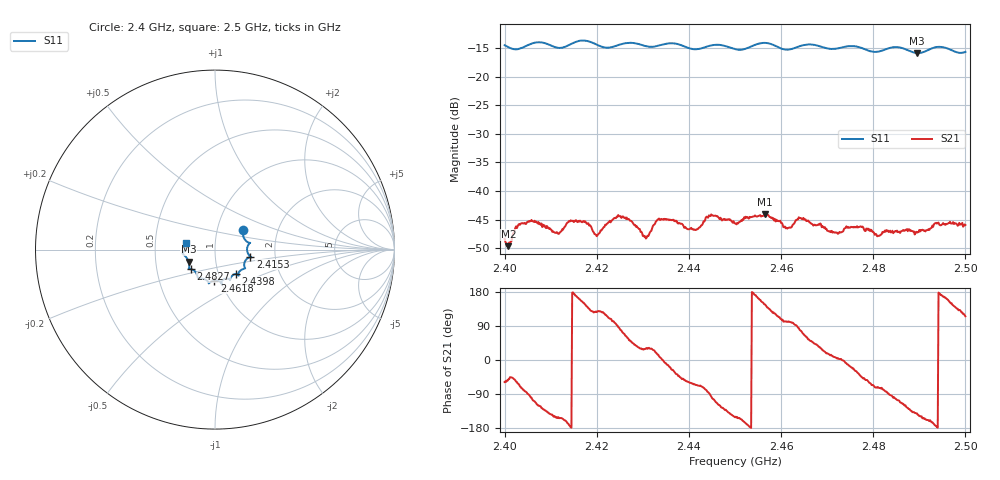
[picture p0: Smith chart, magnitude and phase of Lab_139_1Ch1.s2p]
# Hz S RI R 50
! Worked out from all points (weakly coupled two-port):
!   601 points, 2.4 GHz to 2.5 GHz, reference 50 ohm
!   highest |S21| = -44.09 dB at 2.4565 GHz (marker M1); lowest = -49.6 dB at 2.4008 GHz (marker M2)
!   lowest |S11| = -15.9 dB at 2.4895 GHz (marker M3), VSWR 1.38, Z = 37 - j5.03 ohm
!   |S11| at or under -10 dB: start of sweep to end of sweep
!   S12 and S22 are empty: the file has one direction only
!   S11 on the Smith chart (normalised r, x): 2.4 GHz: 1.33, +0.29; 2.4153 GHz: 1.48, -0.12; 2.4398 GHz: 1.21, -0.34; 2.4618 GHz: 0.94, -0.33; 2.4827 GHz: 0.75, -0.17; 2.5 GHz: 0.72, +0.06
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2.4e9  0.1554 0.1066  0.00202 -0.00325  0 0  0 0
2.400833e9  0.155 0.0937  0.00208 -0.00255  0 0  0 0
2.4035e9  0.169 0.0527  0.00167 -0.00491  0 0  0 0
2.4115e9  0.1787 0.00721  -0.00383 -0.00193  0 0  0 0
2.415333e9  0.1967 -0.0394  -0.00543 0.000944  0 0  0 0
2.416667e9  0.2025 -0.0434  -0.00488 0.00222  0 0  0 0
2.42e9  0.185 -0.0459  -0.00238 0.00324  0 0  0 0
2.425167e9  0.165 -0.0978  0.00114 0.00592  0 0  0 0
2.430667e9  0.146 -0.1134  0.00331 0.00195  0 0  0 0
2.433333e9  0.1301 -0.1341  0.00549 0.00137  0 0  0 0
2.439833e9  0.1152 -0.1362  0.00248 -0.00391  0 0  0 0
2.444833e9  0.0835 -0.168  -0.000686 -0.0062  0 0  0 0
2.45e9  0.065 -0.1615  -0.00455 -0.00252  0 0  0 0
2.4565e9  0.0392 -0.1936  -0.00522 0.00344  0 0  0 0
2.461833e9  -0.00313 -0.1728  -0.000887 0.00472  0 0  0 0
2.464e9  -0.0279 -0.1825  0.001 0.00571  0 0  0 0
2.466667e9  -0.0346 -0.188  0.00339 0.00388  0 0  0 0
2.472e9  -0.0704 -0.1612  0.00431 0.000407  0 0  0 0
2.482667e9  -0.135 -0.1088  0.000535 -0.00437  0 0  0 0
2.483333e9  -0.14 -0.1085  0.000118 -0.00438  0 0  0 0
2.4895e9  -0.1462 -0.0663  -0.00336 -0.00273  0 0  0 0
2.5e9  -0.1599 0.039  -0.00216 0.00456  0 0  0 0
